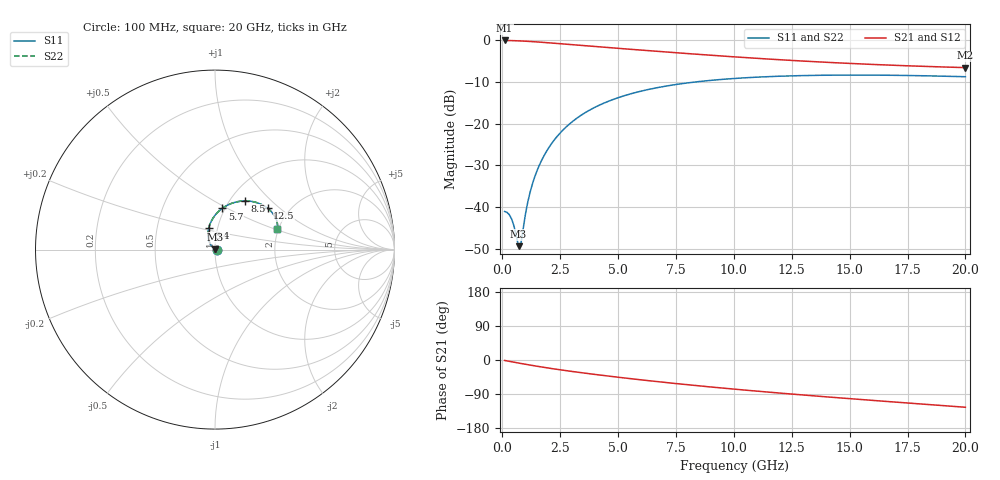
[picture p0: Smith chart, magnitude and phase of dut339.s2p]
! Touchstone file exported from HFSS 2024.1.0
!  File:  C:/UserFiles/LocalFiles/RDL_TSV_Batchsim/temp_RDL_TSV_339_1779634287.aedt
!  Generated:  11:12:04 PM May 24, 2026
!  Design:  RDL_TSV
!  Project:  temp_RDL_TSV_339_1779634287
!  Setup:  Setup1
!  Solution:  Sweep
! Variables:
!  dtsv = 7.28um
!  hbump = 3um
!  htsv = 72.21um
!  ldown = 280.12um
!  lrdl = 187.8um
!  p = 40
!  p1 = 59.44um
!  rhole = 10um
!  subl = 1591.56um
!  t = 450um
!  tdown = 4.58um
!  trdl = 2.16um
!  viad = 10um
!  wdown = 22.78um
!  wrdl = 28.46um
!  xbump = 18um
# GHz S MA R 50.000000
! Terminal data exported
! Port[1] = TM1_1_T1
! Port[2] = TM1_4_T1
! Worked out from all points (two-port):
!   200 points, 100 MHz to 20 GHz, reference 50 ohm
!   highest |S21| = -0.08 dB at 100 MHz (marker M1); lowest = -6.6 dB at 20 GHz (marker M2)
!   |S21| within 3 dB of the highest: start of sweep to 7.638 GHz
!   lowest |S11| = -49.4 dB at 700 MHz (marker M3), VSWR 1.01, Z = 50.2 + j0.257 ohm
!   |S11| at or under -10 dB: start of sweep to 8.396 GHz
!   |S22| runs from -49.4 to -8.4 dB; largest |S21 - S12| = 3e-14
!   S11 on the Smith chart (normalised r, x): 100 MHz: 1.02, +0.00; 3.4 GHz: 0.91, +0.22; 5.7 GHz: 0.97, +0.47; 8.5 GHz: 1.17, +0.71; 12.5 GHz: 1.56, +0.83; 20 GHz: 1.97, +0.51
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0.1  0.008812 2.5  0.9908 -1.2  0.9908 -1.2  0.008812 2.5
! Gamma 0 0 0 0
! Port Impedance 50 0 50 0
0.3  0.008084 5.9  0.9886 -3.5  0.9886 -3.5  0.008084 5.9
0.4  0.007186 8.1  0.9869 -4.7  0.9869 -4.7  0.007186 8.2
0.5  0.005954 12.8  0.9849 -5.8  0.9849 -5.8  0.005954 12.8
0.7  0.003379 49.1  0.9802 -8.0  0.9802 -8.0  0.00338 49.1
0.8  0.003573 89.7  0.9774 -9.1  0.9774 -9.1  0.003575 89.7
1  0.008187 127.0  0.971 -11.3  0.971 -11.3  0.008189 127.0
1.2  0.01497 133.6  0.9637 -13.4  0.9637 -13.4  0.01497 133.6
1.4  0.02287 133.9  0.9557 -15.5  0.9557 -15.5  0.02287 133.9
1.7  0.03622 130.9  0.9427 -18.5  0.9427 -18.5  0.03622 130.9
2.4  0.07168 120.6  0.9103 -25.0  0.9103 -25.0  0.07168 120.6
3.4  0.1254 106.0  0.8644 -33.4  0.8644 -33.4  0.1254 106.0
3.5  0.1307 104.7  0.8599 -34.2  0.8599 -34.2  0.1307 104.7
4.5  0.1809 92.4  0.8174 -41.8  0.8174 -41.8  0.1809 92.4
5.7  0.2331 80.0  0.7702 -50.4  0.7702 -50.4  0.2332 80.0
6.8  0.2725 70.5  0.73 -57.7  0.73 -57.7  0.2726 70.5
8.5  0.3186 58.4  0.6739 -68.2  0.6739 -68.2  0.3187 58.4
10.1  0.348 49.1  0.6277 -77.4  0.6277 -77.4  0.3482 49.1
12.5  0.3728 38.1  0.5707 -89.9  0.5707 -89.9  0.373 38.1
13.4  0.3775 34.7  0.5528 -94.4  0.5528 -94.4  0.3777 34.7
16.7  0.3791 24.7  0.5016 -109.8  0.5016 -109.8  0.3793 24.7
20  0.3638 18.0  0.4681 -124.7  0.4681 -124.7  0.3641 18.0
